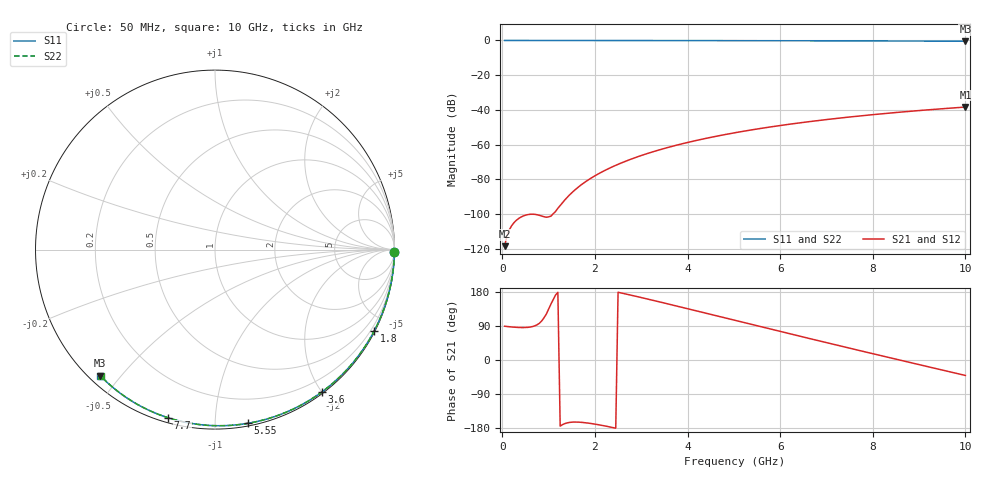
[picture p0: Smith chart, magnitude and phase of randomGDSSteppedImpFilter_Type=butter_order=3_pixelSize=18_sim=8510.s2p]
! freq	dB(S11)	phase(S11)	dB(S12)	phase(S12)
!  dB(S21)	phase(S21)	dB(S22)	phase(S22)
!S-par simulation data
#  GHz  S  DB  R 50
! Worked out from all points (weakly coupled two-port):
!   200 points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, 50 MHz to 10 GHz, reference 50 ohm
!   highest |S21| = -38.36 dB at 10 GHz (marker M1); lowest = -118.5 dB at 50 MHz (marker M2)
!   lowest |S11| = -0.4 dB at 10 GHz (marker M3), VSWR 38.97, Z = 1.53 - j22.1 ohm
!   |S11| at or under -10 dB: nowhere
!   |S22| runs from -0.4 to 0.0 dB; largest |S21 - S12| = 0
!   S11 on the Smith chart (normalised r, x): 50 MHz: open; 1.8 GHz: 0.04, -4.15; 3.6 GHz: 0.02, -2.00; 5.55 GHz: 0.02, -1.21; 7.7 GHz: 0.02, -0.76; 10 GHz: 0.03, -0.44
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0.05  -0.00 -0.8  -118.47 89.1  -118.47 89.1  -0.00 -0.8
0.9  -0.02 -13.7  -101.52 111.3  -101.52 111.3  -0.02 -13.6
1.75  -0.03 -26.4  -82.25 -164.9  -82.25 -164.9  -0.03 -26.3
1.8  -0.03 -27.1  -81.31 -165.6  -81.31 -165.6  -0.03 -27.0
1.85  -0.04 -27.9  -80.42 -166.4  -80.42 -166.4  -0.04 -27.8
1.9  -0.04 -28.6  -79.56 -167.3  -79.56 -167.3  -0.04 -28.5
2.05  -0.04 -30.8  -77.18 -170.2  -77.18 -170.2  -0.04 -30.7
2.25  -0.04 -33.7  -74.38 -174.9  -74.38 -174.9  -0.04 -33.6
2.45  -0.05 -36.6  -71.90 -180.0  -71.90 -180.0  -0.05 -36.5
2.65  -0.05 -39.5  -69.68 174.7  -69.68 174.7  -0.05 -39.4
3  -0.06 -44.6  -66.27 164.8  -66.27 164.8  -0.06 -44.4
3.4  -0.07 -50.2  -62.94 153.2  -62.94 153.2  -0.07 -50.1
3.6  -0.07 -53.0  -61.45 147.3  -61.45 147.3  -0.07 -52.9
4.3  -0.09 -62.6  -56.94 126.4  -56.94 126.4  -0.09 -62.5
5.05  -0.11 -72.7  -53.02 103.9  -53.02 103.9  -0.11 -72.5
5.55  -0.13 -79.2  -50.79 88.9  -50.79 88.9  -0.13 -78.9
6.1  -0.15 -86.2  -48.61 72.5  -48.61 72.5  -0.15 -85.9
6.7  -0.18 -93.6  -46.51 54.7  -46.51 54.7  -0.18 -93.4
7.7  -0.24 -105.7  -43.53 25.4  -43.53 25.4  -0.24 -105.4
8.35  -0.29 -113.3  -41.86 6.5  -41.86 6.5  -0.29 -113.0
9.15  -0.36 -122.6  -40.04 -16.5  -40.04 -16.5  -0.36 -122.3
10  -0.45 -132.3  -38.36 -40.8  -38.36 -40.8  -0.45 -131.9
